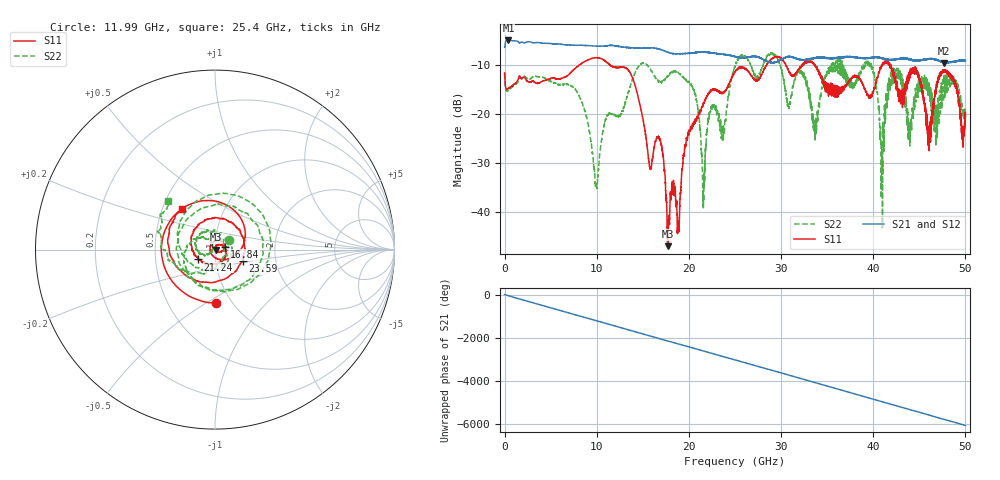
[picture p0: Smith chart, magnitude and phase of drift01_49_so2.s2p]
!Created with skrf (http://scikit-rf.org).
# Hz S RI R 50.0
!freq ReS11 ImS11 ReS21 ImS21 ReS12 ImS12 ReS22 ImS22
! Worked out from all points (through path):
!   10001 points, 300 kHz to 50 GHz, reference 50 ohm
!   highest |S21| = -5.06 dB at 410.3 MHz (marker M1); lowest = -9.7 dB at 47.67 GHz (marker M2)
!   group delay of S21, straight-line fit = 336 ps
!   lowest |S11| = -46.9 dB at 17.68 GHz (marker M3), VSWR 1.01, Z = 50.4 - j0.1 ohm
!   |S11| at or under -10 dB: start of sweep to 8.154 GHz; 11.41 GHz to 28.44 GHz (17.03 GHz wide, 85.5 % of centre); 41.91 GHz to end of sweep (the widest 3 of 15)
!   |S22| runs from -43.3 to -7.6 dB; largest |S21 - S12| = 0.016
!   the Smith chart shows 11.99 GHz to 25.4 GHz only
!   S11 on the Smith chart (normalised r, x): 11.99 GHz: 0.85, -0.55; 16.84 GHz: 1.11, +0.04; 21.24 GHz: 0.82, -0.09; 23.59 GHz: 1.35, -0.17; 25.4 GHz: 0.63, +0.31
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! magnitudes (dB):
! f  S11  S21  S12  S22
! 300 kHz  -11.7  -6.4  -6.5  -11.6
! 410.3 MHz  -14.8  -5.1  -5.1  -15.1
! 8.335 GHz  -9.8  -6.0  -6.0  -17.5
! 9.935 GHz  -8.6  -6.2  -6.2  -34.2
! 11.99 GHz  -10.5  -6.1  -6.1  -20.3
! 13.96 GHz  -13.1  -6.6  -6.5  -12.7
! 15.79 GHz  -31.0  -6.5  -6.6  -10.8
! 16.67 GHz  -24.6  -6.8  -6.8  -13.4
! 16.84 GHz  -25.1  -6.8  -6.9  -13.6
! 17.68 GHz  -46.9  -7.4  -7.4  -12.4
! 21.24 GHz  -19.2  -7.4  -7.4  -23.3
! 23.59 GHz  -15.6  -7.9  -7.8  -22.6
! 25 GHz  -11.4  -8.4  -8.4  -10.3
! 25.4 GHz  -10.8  -8.5  -8.5  -8.5
! 33.34 GHz  -9.5  -8.8  -8.8  -19.3
! 39.49 GHz  -16.6  -8.6  -8.6  -10.1
! 40.94 GHz  -9.9  -8.6  -8.7  -26.3
! 41.67 GHz  -10.0  -8.9  -9.0  -15.6
! 44.76 GHz  -11.2  -9.1  -9.0  -14.3
! 46.06 GHz  -25.5  -8.8  -8.7  -14.2
! 47.67 GHz  -11.3  -9.7  -9.6  -14.6
! 50 GHz  -20.6  -9.2  -9.2  -20.6
